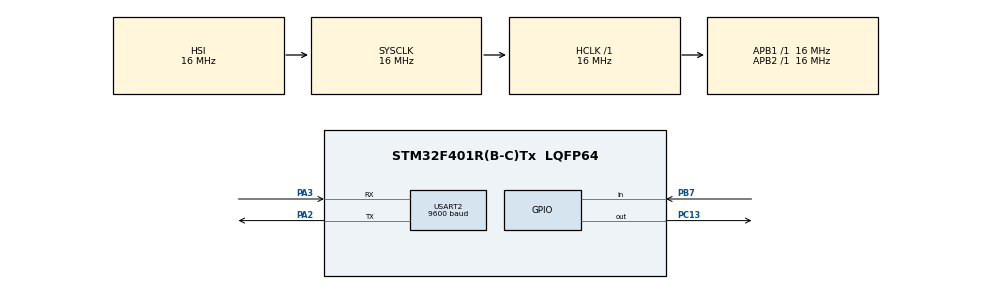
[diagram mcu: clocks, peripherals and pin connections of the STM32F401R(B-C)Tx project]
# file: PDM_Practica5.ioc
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Mcu.Family=STM32F4
Mcu.Name=STM32F401R(B-C)Tx
Mcu.Package=LQFP64
NVIC.PriorityGroup=NVIC_PRIORITYGROUP_4
PA2.Mode=Asynchronous
PA2.Signal=USART2_TX
PA3.Mode=Asynchronous
PA3.Signal=USART2_RX
PB7.GPIO_PuPd=GPIO_PULLDOWN
PB7.Signal=GPIO_Input
PC13-ANTI_TAMP.Signal=GPIO_Output
ProjectManager.HeapSize=0x200
ProjectManager.StackSize=0x400
ProjectManager.TargetToolchain=STM32CubeIDE
RCC.AHBFreq_Value=16000000
RCC.APB1Freq_Value=16000000
RCC.APB2Freq_Value=16000000
RCC.CortexFreq_Value=16000000
RCC.HSE_VALUE=25000000
RCC.HSI_VALUE=16000000
RCC.LSE_VALUE=32768
RCC.SYSCLKFreq_VALUE=16000000
RCC.VCOOutputFreq_Value=192000000
USART2.BaudRate=9600
USART2.VirtualMode=VM_ASYNC
board=custom

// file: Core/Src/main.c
/* USER CODE BEGIN Header */
/**
  ******************************************************************************
  * @file           : main.c
  * @brief          : Main program body
  ******************************************************************************
  * @attention
  *
  * Copyright (c) 2023 STMicroelectronics.
  * All rights reserved.
  *
  * This software is licensed under terms that can be found in the LICENSE file
  * in the root directory of this software component.
  * If no LICENSE file comes with this software, it is provided AS-IS.
  *
  ******************************************************************************
  */
/* USER CODE END Header */
#include "main.h"

/* USER CODE BEGIN Includes */
#include "API_debounce.h"
/* USER CODE END Includes */

UART_HandleTypeDef huart2;

void SystemClock_Config(void);
static void MX_GPIO_Init(void);
static void MX_USART2_UART_Init(void);

/* USER CODE BEGIN 0 */
void rutinaLed(delay_t *delay,tick_t*duration,bool_t* pulsador)
    {

    if(*pulsador)
    	{
    	delayWrite(delay, duration[0]);

    	}
        else
    	{
    	delayWrite(delay, duration[1]);
    	}
        if(delayRead(delay))
        HAL_GPIO_TogglePin(GPIOC, GPIO_PIN_13);
        //rutinaLed(&parpadeo);
    }
/* USER CODE END 0 */

int main(void)
{

  /* MCU Configuration--------------------------------------------------------*/

  /* Reset of all peripherals, Initializes the Flash interface and the Systick. */
  HAL_Init();

  /* Configure the system clock */
  SystemClock_Config();

  /* USER CODE BEGIN SysInit */
  debounceFSM_Init();
  uartInit(9600);
  /* USER CODE END SysInit */

  /* Initialize all configured peripherals */
  MX_GPIO_Init();
  MX_USART2_UART_Init();
  /* USER CODE BEGIN 2 */
  delay_t delay_led;
  delayInit(&delay_led, 1);
  tick_t duration[2]={100,500};
  bool_t botonDes=false;
  //bool_t botonAsc=false;
  /* USER CODE END 2 */

  /* Infinite loop */
  /* USER CODE BEGIN WHILE */
  while (1)
  {
      debounceFSM_Update();
      if (readKeyDes())
      	  {
	  botonDes=!botonDes;
	  uartSendString("Des");
      	  }
      if (readKeyAsc())
          {
	  uartSendString("Asc");
          }

          rutinaLed(&delay_led,&duration,&botonDes);
    /* USER CODE END WHILE */

  }
}

void SystemClock_Config(void)
{
  RCC_OscInitTypeDef RCC_OscInitStruct = {0};
  RCC_ClkInitTypeDef RCC_ClkInitStruct = {0};

  /** Configure the main internal regulator output voltage
  */
  __HAL_RCC_PWR_CLK_ENABLE();
  __HAL_PWR_VOLTAGESCALING_CONFIG(PWR_REGULATOR_VOLTAGE_SCALE2);

  /** Initializes the RCC Oscillators according to the specified parameters
  * in the RCC_OscInitTypeDef structure.
  */
  RCC_OscInitStruct.OscillatorType = RCC_OSCILLATORTYPE_HSI;
  RCC_OscInitStruct.HSIState = RCC_HSI_ON;
  RCC_OscInitStruct.HSICalibrationValue = RCC_HSICALIBRATION_DEFAULT;
  RCC_OscInitStruct.PLL.PLLState = RCC_PLL_NONE;
  if (HAL_RCC_OscConfig(&RCC_OscInitStruct) != HAL_OK)
  {
    Error_Handler();
  }

  /** Initializes the CPU, AHB and APB buses clocks
  */
  RCC_ClkInitStruct.ClockType = RCC_CLOCKTYPE_HCLK|RCC_CLOCKTYPE_SYSCLK
                              |RCC_CLOCKTYPE_PCLK1|RCC_CLOCKTYPE_PCLK2;
  RCC_ClkInitStruct.SYSCLKSource = RCC_SYSCLKSOURCE_HSI;
  RCC_ClkInitStruct.AHBCLKDivider = RCC_SYSCLK_DIV1;
  RCC_ClkInitStruct.APB1CLKDivider = RCC_HCLK_DIV1;
  RCC_ClkInitStruct.APB2CLKDivider = RCC_HCLK_DIV1;

  if (HAL_RCC_ClockConfig(&RCC_ClkInitStruct, FLASH_LATENCY_0) != HAL_OK)
  {
    Error_Handler();
  }
}

static void MX_USART2_UART_Init(void)
{

  huart2.Instance = USART2;
  huart2.Init.BaudRate = 9600;
  huart2.Init.WordLength = UART_WORDLENGTH_8B;
  huart2.Init.StopBits = UART_STOPBITS_1;
  huart2.Init.Parity = UART_PARITY_NONE;
  huart2.Init.Mode = UART_MODE_TX_RX;
  huart2.Init.HwFlowCtl = UART_HWCONTROL_NONE;
  huart2.Init.OverSampling = UART_OVERSAMPLING_16;
  if (HAL_UART_Init(&huart2) != HAL_OK)
  {
    Error_Handler();
  }

}

static void MX_GPIO_Init(void)
{
  GPIO_InitTypeDef GPIO_InitStruct = {0};

  /* GPIO Ports Clock Enable */
  __HAL_RCC_GPIOC_CLK_ENABLE();
  __HAL_RCC_GPIOA_CLK_ENABLE();
  __HAL_RCC_GPIOB_CLK_ENABLE();

  /*Configure GPIO pin Output Level */
  HAL_GPIO_WritePin(GPIOC, GPIO_PIN_13, GPIO_PIN_RESET);

  /*Configure GPIO pin : PC13 */
  GPIO_InitStruct.Pin = GPIO_PIN_13;
  GPIO_InitStruct.Mode = GPIO_MODE_OUTPUT_PP;
  GPIO_InitStruct.Pull = GPIO_NOPULL;
  GPIO_InitStruct.Speed = GPIO_SPEED_FREQ_LOW;
  HAL_GPIO_Init(GPIOC, &GPIO_InitStruct);

  /*Configure GPIO pin : PB7 */
  GPIO_InitStruct.Pin = GPIO_PIN_7;
  GPIO_InitStruct.Mode = GPIO_MODE_INPUT;
  GPIO_InitStruct.Pull = GPIO_PULLDOWN;
  HAL_GPIO_Init(GPIOB, &GPIO_InitStruct);

}

void Error_Handler(void)
{
  __disable_irq();
  while (1)
  {
  }
}
